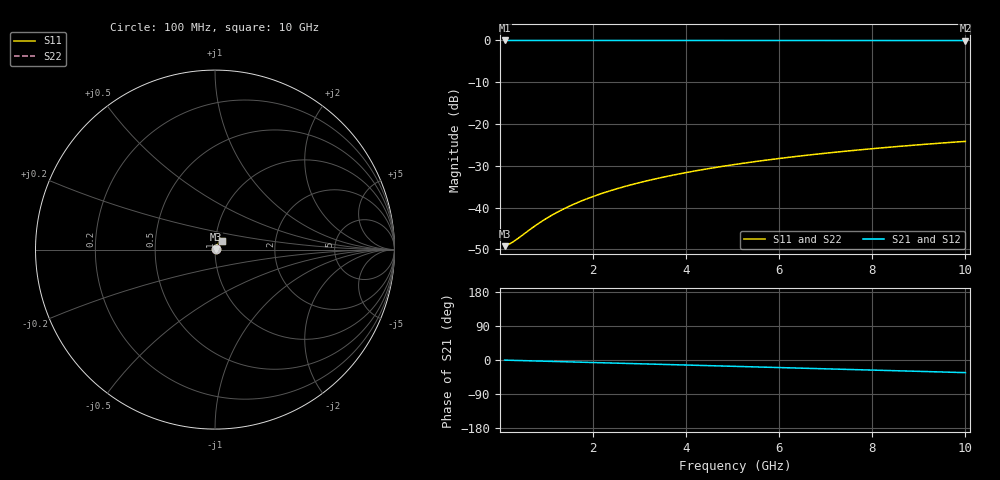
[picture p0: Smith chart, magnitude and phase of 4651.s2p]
# Hz S RI R 50.00
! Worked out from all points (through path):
!   100 points, 100 MHz to 10 GHz, reference 50 ohm
!   highest |S21| = -0.03 dB at 100 MHz (marker M1); lowest = -0.1 dB at 10 GHz (marker M2)
!   group delay of S21, straight-line fit = 9.25 ps
!   lowest |S11| = -49.2 dB at 100 MHz (marker M3), VSWR 1.01, Z = 50.3 + j0.0641 ohm
!   |S11| at or under -10 dB: start of sweep to end of sweep
!   |S22| runs from -49.2 to -24.2 dB; largest |S21 - S12| = 0
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1e8  0.00339 0.000636  0.9966 -0.00577  0.9966 -0.00577  0.00339 0.000636
2e8  0.00342 0.00127  0.9965 -0.0115  0.9965 -0.0115  0.00342 0.00127
3e8  0.00345 0.00191  0.9964 -0.0173  0.9964 -0.0173  0.00345 0.00191
8e8  0.0037 0.00508  0.9954 -0.0462  0.9954 -0.0462  0.0037 0.00508
9e8  0.00377 0.00571  0.9951 -0.0519  0.9951 -0.0519  0.00377 0.00571
1.1e9  0.00393 0.00697  0.9944 -0.0635  0.9944 -0.0635  0.00393 0.00697
1.4e9  0.00422 0.00886  0.9931 -0.0808  0.9931 -0.0808  0.00422 0.00886
1.6e9  0.00445 0.0101  0.9921 -0.0923  0.9921 -0.0923  0.00445 0.0101
1.8e9  0.0047 0.0113  0.9909 -0.1038  0.9909 -0.1038  0.0047 0.0113
2.1e9  0.00514 0.0132  0.9889 -0.121  0.9889 -0.121  0.00514 0.0132
2.5e9  0.00583 0.0156  0.9858 -0.1439  0.9858 -0.1439  0.00583 0.0156
2.9e9  0.00662 0.0181  0.9821 -0.1667  0.9821 -0.1667  0.00662 0.0181
3.4e9  0.00777 0.021  0.9768 -0.1951  0.9768 -0.1951  0.00777 0.021
3.8e9  0.00882 0.0233  0.9719 -0.2177  0.9719 -0.2177  0.00882 0.0233
4.2e9  0.00997 0.0256  0.9665 -0.2402  0.9665 -0.2402  0.00997 0.0256
4.6e9  0.0112 0.0278  0.9605 -0.2626  0.9605 -0.2626  0.0112 0.0278
5.1e9  0.0129 0.0304  0.9524 -0.2904  0.9524 -0.2904  0.0129 0.0304
5.9e9  0.016 0.0345  0.9376 -0.3343  0.9376 -0.3343  0.016 0.0345
6.7e9  0.0194 0.0382  0.9208 -0.3775  0.9208 -0.3775  0.0194 0.0382
7.5e9  0.0232 0.0416  0.902 -0.4199  0.902 -0.4199  0.0232 0.0416
8.4e9  0.0278 0.045  0.8785 -0.4665  0.8785 -0.4665  0.0278 0.045
1e10  0.0368 0.0498  0.8306 -0.546  0.8306 -0.546  0.0368 0.0498
